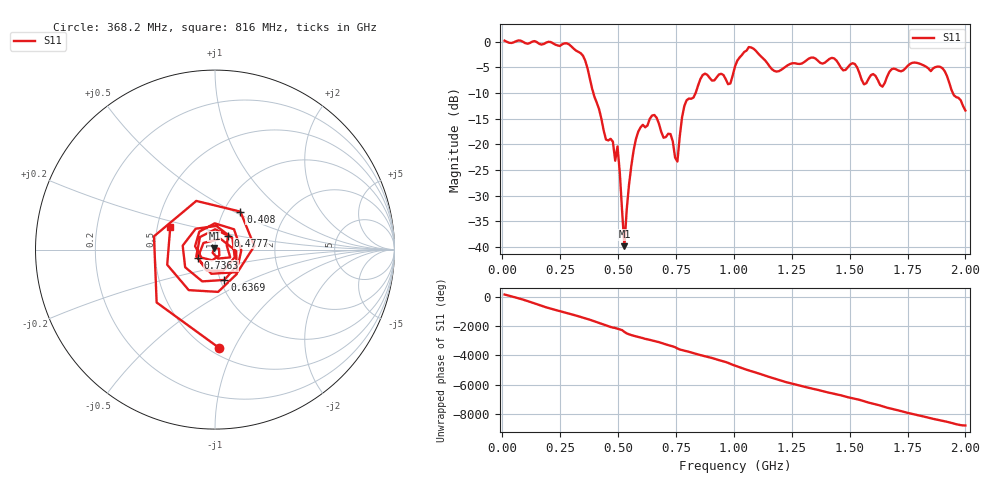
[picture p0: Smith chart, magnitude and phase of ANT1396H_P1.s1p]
!Created with skrf (http://scikit-rf.org).
# Hz S RI R 50.0
!freq ReS11 ImS11
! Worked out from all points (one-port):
!   201 points, 10 MHz to 2 GHz, reference 50 ohm
!   lowest |S11| = -39.9 dB at 527.4 MHz (marker M1), VSWR 1.02, Z = 49.6 + j0.949 ohm
!   |S11| at or under -10 dB: 393.4 MHz to 834.7 MHz (441.4 MHz wide, 71.9 % of centre); 1.946 GHz to end of sweep
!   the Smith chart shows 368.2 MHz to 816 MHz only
!   S11 on the Smith chart (normalised r, x): 368.2 MHz: 0.56, -0.88; 408 MHz: 1.20, +0.54; 477.6 MHz: 1.14, +0.18; 636.9 MHz: 1.05, -0.36; 736.4 MHz: 0.82, -0.08; 816 MHz: 0.59, +0.16
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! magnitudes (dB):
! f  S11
! 10 MHz  0.2
! 258.8 MHz  -0.5
! 368.2 MHz  -5.2
! 408 MHz  -11.9
! 447.8 MHz  -19.1
! 477.6 MHz  -19.5
! 487.6 MHz  -23.2
! 497.6 MHz  -20.4
! 507.5 MHz  -25.5
! 527.4 MHz  -39.9
! 547.3 MHz  -27.9
! 567.2 MHz  -21.2
! 636.9 MHz  -15.0
! 736.4 MHz  -19.4
! 756.2 MHz  -23.4
! 786.1 MHz  -12.5
! 816 MHz  -11.1
! 865.7 MHz  -6.5
! 975.1 MHz  -8.3
! 1.005 GHz  -4.8
! 1.065 GHz  -1.0
! 1.174 GHz  -5.7
! 1.254 GHz  -4.2
! 1.502 GHz  -4.4
! 1.642 GHz  -8.8
! 1.751 GHz  -4.7
! 1.901 GHz  -5.1
! 2 GHz  -13.4
